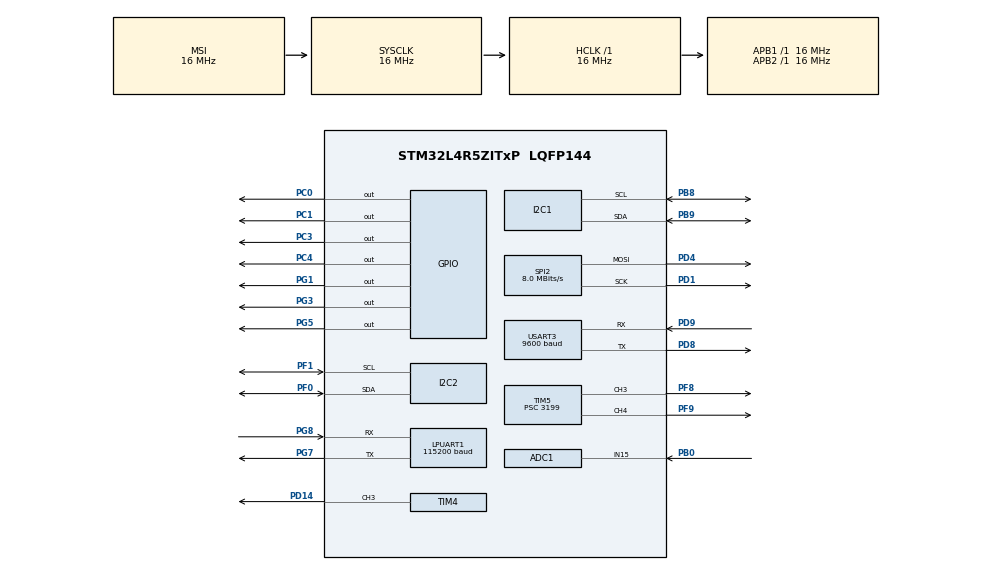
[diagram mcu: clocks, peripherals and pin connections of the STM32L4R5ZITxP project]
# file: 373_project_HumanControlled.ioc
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ADC1.Channel-4\#ChannelRegularConversion=ADC_CHANNEL_15
ADC1.NbrOfConversionFlag=1
ADC1.OffsetNumber-4\#ChannelRegularConversion=ADC_OFFSET_NONE
ADC1.Rank-4\#ChannelRegularConversion=1
ADC1.SamplingTime-4\#ChannelRegularConversion=ADC_SAMPLETIME_2CYCLES_5
ADC1.master=1
Dma.Request0=SPI2_TX
Dma.Request1=TIM4_CH3
Dma.SPI2_TX.0.Direction=DMA_MEMORY_TO_PERIPH
Dma.SPI2_TX.0.EventEnable=DISABLE
Dma.SPI2_TX.0.Instance=DMA1_Channel1
Dma.SPI2_TX.0.MemDataAlignment=DMA_MDATAALIGN_BYTE
Dma.SPI2_TX.0.MemInc=DMA_MINC_ENABLE
Dma.SPI2_TX.0.Mode=DMA_NORMAL
Dma.SPI2_TX.0.PeriphDataAlignment=DMA_PDATAALIGN_BYTE
Dma.SPI2_TX.0.PeriphInc=DMA_PINC_DISABLE
Dma.SPI2_TX.0.Polarity=HAL_DMAMUX_REQUEST_GEN_RISING
Dma.SPI2_TX.0.Priority=DMA_PRIORITY_LOW
Dma.SPI2_TX.0.RequestNumber=1
Dma.SPI2_TX.0.SignalID=NONE
Dma.SPI2_TX.0.SyncEnable=DISABLE
Dma.SPI2_TX.0.SyncPolarity=HAL_DMAMUX_SYNC_NO_EVENT
Dma.SPI2_TX.0.SyncRequestNumber=1
Dma.SPI2_TX.0.SyncSignalID=NONE
Dma.TIM4_CH3.1.Direction=DMA_MEMORY_TO_PERIPH
Dma.TIM4_CH3.1.EventEnable=DISABLE
Dma.TIM4_CH3.1.Instance=DMA1_Channel3
Dma.TIM4_CH3.1.MemDataAlignment=DMA_MDATAALIGN_WORD
Dma.TIM4_CH3.1.MemInc=DMA_MINC_ENABLE
Dma.TIM4_CH3.1.Mode=DMA_NORMAL
Dma.TIM4_CH3.1.PeriphDataAlignment=DMA_PDATAALIGN_WORD
Dma.TIM4_CH3.1.PeriphInc=DMA_PINC_DISABLE
Dma.TIM4_CH3.1.Polarity=HAL_DMAMUX_REQUEST_GEN_RISING
Dma.TIM4_CH3.1.Priority=DMA_PRIORITY_HIGH
Dma.TIM4_CH3.1.RequestNumber=1
Dma.TIM4_CH3.1.SignalID=NONE
Dma.TIM4_CH3.1.SyncEnable=DISABLE
Dma.TIM4_CH3.1.SyncPolarity=HAL_DMAMUX_SYNC_NO_EVENT
Dma.TIM4_CH3.1.SyncRequestNumber=1
Dma.TIM4_CH3.1.SyncSignalID=NONE
I2C1.Timing=0x00503D58
I2C2.Timing=0x00503D58
LPUART1.BaudRate=115200
LPUART1.WordLength=UART_WORDLENGTH_8B
Mcu.Family=STM32L4
Mcu.Name=STM32L4R5ZITxP
Mcu.Package=LQFP144
NVIC.DMA1_Channel1_IRQn=true\:0\:0\:false\:false\:true\:false\:true\:true
NVIC.DMA1_Channel3_IRQn=true\:0\:0\:false\:false\:true\:false\:true\:true
NVIC.PriorityGroup=NVIC_PRIORITYGROUP_4
NVIC.USART3_IRQn=true\:0\:0\:false\:false\:true\:true\:true\:true
PB0.Signal=ADCx_IN15
PB8.Mode=I2C
PB8.Signal=I2C1_SCL
PB9.Mode=I2C
PB9.Signal=I2C1_SDA
PC0.Signal=GPIO_Output
PC1.Signal=GPIO_Output
PC3.Signal=GPIO_Output
PC4.Signal=GPIO_Output
PD1.Mode=TX_Only_Simplex_Unidirect_Master
PD1.Signal=SPI2_SCK
PD14.Signal=S_TIM4_CH3
PD4.Mode=TX_Only_Simplex_Unidirect_Master
PD4.Signal=SPI2_MOSI
PD8.Mode=Asynchronous
PD8.Signal=USART3_TX
PD9.Mode=Asynchronous
PD9.Signal=USART3_RX
PF0.Mode=I2C
PF0.Signal=I2C2_SDA
PF1.Mode=I2C
PF1.Signal=I2C2_SCL
PF8.Signal=S_TIM5_CH3
PF9.Signal=S_TIM5_CH4
PG1.Signal=GPIO_Output
PG3.Signal=GPIO_Output
PG5.Signal=GPIO_Output
PG7.Mode=Asynchronous
PG7.Signal=LPUART1_TX
PG8.Mode=Asynchronous
PG8.Signal=LPUART1_RX
ProjectManager.HeapSize=0x200
ProjectManager.StackSize=0x400
ProjectManager.TargetToolchain=STM32CubeIDE
RCC.ADCFreq_Value=64000000
RCC.AHBFreq_Value=16000000
RCC.APB1Freq_Value=16000000
RCC.APB1TimFreq_Value=16000000
RCC.APB2Freq_Value=16000000
RCC.APB2TimFreq_Value=16000000
RCC.CortexFreq_Value=16000000
RCC.HCLKFreq_Value=16000000
RCC.HSE_VALUE=8000000
RCC.HSI48_VALUE=48000000
RCC.HSI_VALUE=16000000
RCC.LSE_VALUE=32768
RCC.MSIClockRange=RCC_MSIRANGE_8
RCC.MSI_VALUE=16000000
RCC.SYSCLKFreq_VALUE=16000000
RCC.USBFreq_Value=64000000
RCC.VCOOutputFreq_Value=128000000
SH.ADCx_IN15.0=ADC1_IN15,IN15-Single-Ended
SH.S_TIM4_CH3.0=TIM4_CH3,PWM Generation3 CH3
SH.S_TIM5_CH3.0=TIM5_CH3,PWM Generation3 CH3
SH.S_TIM5_CH4.0=TIM5_CH4,PWM Generation4 CH4
SPI2.CalculateBaudRate=8.0 MBits/s
SPI2.DataSize=SPI_DATASIZE_8BIT
SPI2.Direction=SPI_DIRECTION_2LINES
SPI2.Mode=SPI_MODE_MASTER
SPI2.VirtualType=VM_MASTER
TIM4.AutoReloadPreload=TIM_AUTORELOAD_PRELOAD_ENABLE
TIM4.Channel-PWM\ Generation3\ CH3=TIM_CHANNEL_3
TIM4.Period=19
TIM5.Channel-PWM\ Generation3\ CH3=TIM_CHANNEL_3
TIM5.Channel-PWM\ Generation4\ CH4=TIM_CHANNEL_4
TIM5.Period=99
TIM5.Prescaler=3199
USART3.BaudRate=9600
USART3.VirtualMode-Asynchronous=VM_ASYNC
VP_TIM5_VS_ClockSourceINT.Mode=Internal
board=NUCLEO-L4R5ZI-P

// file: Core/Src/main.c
/* USER CODE BEGIN Header */
/**
  ******************************************************************************
  * @file           : main.c
  * @brief          : Main program body
  ******************************************************************************
  * @attention
  *
  * Copyright (c) 2026 STMicroelectronics.
  * All rights reserved.
  *
  * This software is licensed under terms that can be found in the LICENSE file
  * in the root directory of this software component.
  * If no LICENSE file comes with this software, it is provided AS-IS.
  *
  ******************************************************************************
  */
/* USER CODE END Header */
#include "main.h"

/* USER CODE BEGIN Includes */
#include "BNO055_STM32.h"
#include "st7789.h"
#include "ws2812.h"
#include "fonts.h"
#include <stdio.h>
#include "vroom.h"
#include <PN532.h>
#include "misc.h"
#include "nfc_ids.h"
#include <string.h>

/* USER CODE END Includes */

/* USER CODE BEGIN PD */
#define led_ARR 19
#define led_T1H 13
#define led_T0H 6
/* USER CODE END PD */

ADC_HandleTypeDef hadc1;

I2C_HandleTypeDef hi2c1;
I2C_HandleTypeDef hi2c2;

UART_HandleTypeDef hlpuart1;
UART_HandleTypeDef huart3;

SPI_HandleTypeDef hspi2;
DMA_HandleTypeDef hdma_spi2_tx;

TIM_HandleTypeDef htim4;
TIM_HandleTypeDef htim5;
DMA_HandleTypeDef hdma_tim4_ch3;

void SystemClock_Config(void);
static void MX_GPIO_Init(void);
static void MX_DMA_Init(void);
static void MX_TIM5_Init(void);
static void MX_I2C1_Init(void);
static void MX_LPUART1_UART_Init(void);
static void MX_ADC1_Init(void);
static void MX_SPI2_Init(void);
static void MX_I2C2_Init(void);
static void MX_TIM4_Init(void);
static void MX_USART3_UART_Init(void);
/* USER CODE BEGIN PFP */
void USART3_SendString_IT(const char *str);
/* USER CODE END PFP */

/* USER CODE BEGIN 0 */
#define RX_BUFFER_SIZE 32          // <-- ADD THIS LINE
uint8_t rx_byte;
uint8_t rx_index = 0;
char rx_buffer[RX_BUFFER_SIZE];    // <-- UPDATE THIS LINE
volatile uint8_t data_ready = 0;
/* USER CODE END 0 */

int main(void)
{

  /* MCU Configuration--------------------------------------------------------*/

  /* Reset of all peripherals, Initializes the Flash interface and the Systick. */
  HAL_Init();

  /* Configure the system clock */
  SystemClock_Config();

  /* Initialize all configured peripherals */
  MX_GPIO_Init();
  MX_DMA_Init();
  MX_TIM5_Init();
  MX_I2C1_Init();
  MX_LPUART1_UART_Init();
  MX_ADC1_Init();
  MX_SPI2_Init();
  MX_I2C2_Init();
  MX_TIM4_Init();
  MX_USART3_UART_Init();
  /* USER CODE BEGIN 2 */
  HAL_TIM_PWM_Start(&htim5, TIM_CHANNEL_3);
  HAL_TIM_PWM_Start(&htim5, TIM_CHANNEL_4);
  HAL_ADC_Start(&hadc1);

  BNO055_Init_t bno_init = {
      .Unit_Sel    = UNIT_ORI_WINDOWS | UNIT_EUL_DEG | UNIT_GYRO_DPS | UNIT_ACC_MS2 | UNIT_TEMP_CELCIUS,
      .Axis        = DEFAULT_AXIS_REMAP,
      .Axis_sign   = DEFAULT_AXIS_SIGN,
      .Mode        = BNO055_NORMAL_MODE,
      .OP_Modes    = IMU,
      .Clock_Source = CLOCK_INTERNAL,
      .ACC_Range   = Range_4G
  };
  BNO055_Init(bno_init);
  ST7789_Init(); //if module disconnected, it wont get to the while.
  ws2812_init(&htim4);

//  ws2812_set_pixel(0,255,255,255);

//  ws2812_set_pixel(0, 200, 0,   0);   // red
//  ws2812_set_pixel(1, 0,   200, 0);   // green
//  ws2812_set_pixel(2, 0,   0,   255); // blue
//
//  ws2812_show();

  //NFC Starts
  HAL_Delay(1000);
  PN532_Init(&hi2c2);
  HAL_Delay(1000);

  HAL_UART_Receive_IT(&huart3, &rx_byte, 1);

  /* USER CODE END 2 */

  /* Infinite loop */
  /* USER CODE BEGIN WHILE */
//  BNO055_Sensors_t sensors_old = {0};
//  BNO055_Sensors_t sensors = {0};
//  int null_thresh= 0.

  int speed = 0;
  int w = 0;
  float amplifier = 0.95;

  // Trackers
  uint8_t num_laps = 0;
  // 1 = Green (Pre-Finish Line)
  // 2 = Yellow (Finish Line)
  // 3 = Blue (Power-Up)
  // 0 = Other
  uint8_t type_tag = 0;
  // 0 = Wait
  // 1 = Pre-Finish Line
  // 2 = Finish Line
  uint8_t lap_latch = 0;
  // 1 = Start
  // 0 = Stop
  uint8_t start_timer = 1;
  uint8_t power_up = 0;
	// Initialize UID
	uint8_t uid[7] = {0};
	uint8_t uidLen = 0;
	// Power-Up Timer Stuff
	uint8_t boost_on = 0;
	int boost_max_time = 10000;
	int boost_start_time = 0;
	int boost_current_time = 0;
	// Lap Time Stuff
	int lap_start_time = 0;
	int lap_end_time = 0;
	// Power-Up Stuff
	extern const uint8_t green [][7]; // (PFL; 1)
	extern const uint8_t yellow [][7]; // (FL; 2)
	extern const uint8_t purple [][7]; // (Power Up; 3)
	// Lap Time
	int reset_color = 0;
	int reset_start_time = 0;

	// Set LED to White
	for(int i = 0; i < 15; i++){
		ws2812_set_pixel(i,255,255,255);
	}
	ws2812_show();

  while (1)
  {
    /* USER CODE END WHILE */

    /* USER CODE BEGIN 3 */

	  // TODO: FIX NFC AND STRIP NOW WORK

	 // Read Target
		if(PN532_ReadPassiveTargetID(uid, &uidLen) == HAL_OK) {
		  // Good Read -- TAG FOUND
			//HAL_Delay(50);

			// TODO: Figure Out What Tag Was Read
			type_tag = identify_tag_color(uid,green,36,yellow,36,purple,36);

			// Green (Pre-Finish Line)
			if(type_tag == 1){
			  if(lap_latch == 0){
				  lap_latch = 1;
				  printf("Practice PFL\n\r");

				  	 // Set LED to Red
				  	for(int i = 0; i < 15; i++){
				  		ws2812_set_pixel(i,255,0,0);
				  	}
				  	ws2812_show();
				  	reset_color = 1;
				  	reset_start_time = HAL_GetTick();
			  }
			}
			// Yellow (Finish Line)
			else if(type_tag == 2){
			  if(lap_latch == 1){
				  lap_latch = 2;
				  printf("Practice FL\n\r");

				  // Set LED to Green
				  	for(int i = 0; i < 15; i++){
				  		ws2812_set_pixel(i,0,255,0);
				  	}
				  	ws2812_show();
				  	reset_color = 1;
				  	reset_start_time = HAL_GetTick();
			  }
			}
			// Blue (Power-Up)
			else if(type_tag == 3){
				power_up = 1;

				// Set Yellow
				for(int i = 0; i < 15; i++){
					ws2812_set_pixel(i,255,255,0);
				}
				ws2812_show();

				//doStar();
				//HAL_Delay(50); // TESTING TODO
			}
			// Error -- Print Tag
			else{
			  HAL_Delay(10);
				printf("Unregistered Tag: UID = ");
				for(int i = 0; i < 7; i++){
				  printf("%02X",uid[i]);

				  if(i < 6){
					  printf(",");
				  }
				}
				printf("\n");
			}

			// Start/End Timer if Applicable
			if(lap_latch == 2){
			  // Start Timer
			  if(start_timer == 1){
				  // Start Lap Time
				  lap_start_time = HAL_GetTick();
				  printf("Practice Start Timer\n\r");

				  // Change Latches
				  start_timer = 0;
				  lap_latch = 0;
			  }
			  // Stop Timer
			  else{
				  // Stop Timer
				  lap_end_time = HAL_GetTick();
				  int lap_time = (lap_end_time - lap_start_time); // TODO: Likely need to adjust time

				  // Send Time to Controller
				  char lap_time_buffer[20];
				  sprintf(lap_time_buffer,"{%d}\n\r",lap_time);
				  USART3_SendString_IT(lap_time_buffer);
				  printf("Practice End Timer\n\r");
				  printf(lap_time_buffer);

				  // Change Latches
				  start_timer = 1;
				  lap_latch = 0;
			  }
			}

		} // End Good Read
		else{
		  // Bad Read

			// Reset ID
			for(int i = 0; i < 7; i++){
			  uid[i] = 0;
			}

			//HAL_Delay(50);
		} // End Bad Read

	  //motor_a_set(55); // 10 (keep fixed)
	  //motor_b_set(55); // 11
//	 sscanf(rx_buffer, "{%d,%d}", &speed, &w);
//	 printf("Success! Speed: %d, W: %d\r\n", speed, w);
	  if (data_ready) {
		  // sscanf looks for the specific pattern "{number,number}"
	      // It returns the number of variables successfully found.
	      if (sscanf(rx_buffer, "{%d,%d}", &speed, &w) == 2) {
	    	  // Successfully parsed both integers!
	          printf("Success! Speed: %d, W: %d\r\n", speed, w);

	          // You can now call drive(w, speed); here if you bring that function over
	      } else if (strcmp(rx_buffer, "{STARMAN}") == 0) {
	          //printf("STARMAN Received: %s\r\n", rx_buffer);
	          if(power_up){
	        	  boost_start_time = HAL_GetTick();
	        	  boost_current_time = HAL_GetTick();
	        	  boost_on = 1;

	        	  power_up = 0;

	        	  doStar();
	          }
	      } else {
	    	  // The data got corrupted or didn't match the format
	    	  printf("Parse error: Received: %s\r\n", rx_buffer);
	      }

	      // Reset the flag to wait for the next message
	      data_ready = 0;

	      if(boost_on){
	    	  motor_a_set(0.35 * (speed + (int)(w * 0.1)));
	    	  motor_b_set(0.35 * (speed - (int)(w * 0.1)));
	      }
	      else{
	    	  motor_a_set(0.25 * (speed + (int)(w * 0.1)));
	    	  motor_b_set(0.25 * (speed - (int)(w * 0.1)));
	      }
	      //motor_a_set(0.5 * (speed - (int)(w * 0.1)));
          //motor_b_set(0.5 * (speed + (int)(w * 0.1)));
	  }

	  if(boost_on){
		  if( (HAL_GetTick() - boost_start_time) < boost_max_time ){
			  //doStar();
			  //boost_current_time = HAL_GetTick();
		  }
		  else{
			  boost_on = 0;

			  // Set LED to White
			  for(int i = 0; i < 15; i++){
			  	ws2812_set_pixel(i,255,255,255);
			  }
			  ws2812_show();
		  }
	  }

	  if(reset_color){
		  if( (HAL_GetTick() - reset_start_time) > 2000 ){
			  if(boost_on){
				  // Set Rainbow
				  doStar();

			  }
			  else if(power_up){
				  // Set Yellow
				  for(int i = 0; i < 15; i++){
					  ws2812_set_pixel(i,255,255,0);
				  }
				  ws2812_show();
			  }
			  else{
				  // Set White
				  for(int i = 0; i < 15; i++){
				  	ws2812_set_pixel(i,255,255,255);
				  }
				  ws2812_show();
			  }
			  reset_color = 0;
		  }
	  }

//	  test_motor_set();
//	  test_drive();
//	  test_IMU();
//	  test_read_adc();
//	  test_adc_IMU();
//	  drive_controller();
//	  ST7789_Test();
	  //do_scoreboard();
//	  doStar();
//	  do_nfc_and_strip();

  }
  /* USER CODE END 3 */
}

void SystemClock_Config(void)
{
  RCC_OscInitTypeDef RCC_OscInitStruct = {0};
  RCC_ClkInitTypeDef RCC_ClkInitStruct = {0};

  /** Configure the main internal regulator output voltage
  */
  if (HAL_PWREx_ControlVoltageScaling(PWR_REGULATOR_VOLTAGE_SCALE1) != HAL_OK)
  {
    Error_Handler();
  }

  /** Initializes the RCC Oscillators according to the specified parameters
  * in the RCC_OscInitTypeDef structure.
  */
  RCC_OscInitStruct.OscillatorType = RCC_OSCILLATORTYPE_MSI;
  RCC_OscInitStruct.MSIState = RCC_MSI_ON;
  RCC_OscInitStruct.MSICalibrationValue = 0;
  RCC_OscInitStruct.MSIClockRange = RCC_MSIRANGE_8;
  RCC_OscInitStruct.PLL.PLLState = RCC_PLL_NONE;
  if (HAL_RCC_OscConfig(&RCC_OscInitStruct) != HAL_OK)
  {
    Error_Handler();
  }

  /** Initializes the CPU, AHB and APB buses clocks
  */
  RCC_ClkInitStruct.ClockType = RCC_CLOCKTYPE_HCLK|RCC_CLOCKTYPE_SYSCLK
                              |RCC_CLOCKTYPE_PCLK1|RCC_CLOCKTYPE_PCLK2;
  RCC_ClkInitStruct.SYSCLKSource = RCC_SYSCLKSOURCE_MSI;
  RCC_ClkInitStruct.AHBCLKDivider = RCC_SYSCLK_DIV1;
  RCC_ClkInitStruct.APB1CLKDivider = RCC_HCLK_DIV1;
  RCC_ClkInitStruct.APB2CLKDivider = RCC_HCLK_DIV1;

  if (HAL_RCC_ClockConfig(&RCC_ClkInitStruct, FLASH_LATENCY_0) != HAL_OK)
  {
    Error_Handler();
  }
}

static void MX_ADC1_Init(void)
{

  ADC_ChannelConfTypeDef sConfig = {0};

  /** Common config
  */
  hadc1.Instance = ADC1;
  hadc1.Init.ClockPrescaler = ADC_CLOCK_ASYNC_DIV1;
  hadc1.Init.Resolution = ADC_RESOLUTION_12B;
  hadc1.Init.DataAlign = ADC_DATAALIGN_RIGHT;
  hadc1.Init.ScanConvMode = ADC_SCAN_DISABLE;
  hadc1.Init.EOCSelection = ADC_EOC_SINGLE_CONV;
  hadc1.Init.LowPowerAutoWait = DISABLE;
  hadc1.Init.ContinuousConvMode = DISABLE;
  hadc1.Init.NbrOfConversion = 1;
  hadc1.Init.DiscontinuousConvMode = DISABLE;
  hadc1.Init.ExternalTrigConv = ADC_SOFTWARE_START;
  hadc1.Init.ExternalTrigConvEdge = ADC_EXTERNALTRIGCONVEDGE_NONE;
  hadc1.Init.DMAContinuousRequests = DISABLE;
  hadc1.Init.Overrun = ADC_OVR_DATA_PRESERVED;
  hadc1.Init.OversamplingMode = DISABLE;
  if (HAL_ADC_Init(&hadc1) != HAL_OK)
  {
    Error_Handler();
  }

  /** Configure Regular Channel
  */
  sConfig.Channel = ADC_CHANNEL_15;
  sConfig.Rank = ADC_REGULAR_RANK_1;
  sConfig.SamplingTime = ADC_SAMPLETIME_2CYCLES_5;
  sConfig.SingleDiff = ADC_SINGLE_ENDED;
  sConfig.OffsetNumber = ADC_OFFSET_NONE;
  sConfig.Offset = 0;
  if (HAL_ADC_ConfigChannel(&hadc1, &sConfig) != HAL_OK)
  {
    Error_Handler();
  }

}

static void MX_I2C1_Init(void)
{

  hi2c1.Instance = I2C1;
  hi2c1.Init.Timing = 0x00503D58;
  hi2c1.Init.OwnAddress1 = 0;
  hi2c1.Init.AddressingMode = I2C_ADDRESSINGMODE_7BIT;
  hi2c1.Init.DualAddressMode = I2C_DUALADDRESS_DISABLE;
  hi2c1.Init.OwnAddress2 = 0;
  hi2c1.Init.OwnAddress2Masks = I2C_OA2_NOMASK;
  hi2c1.Init.GeneralCallMode = I2C_GENERALCALL_DISABLE;
  hi2c1.Init.NoStretchMode = I2C_NOSTRETCH_DISABLE;
  if (HAL_I2C_Init(&hi2c1) != HAL_OK)
  {
    Error_Handler();
  }

  /** Configure Analogue filter
  */
  if (HAL_I2CEx_ConfigAnalogFilter(&hi2c1, I2C_ANALOGFILTER_ENABLE) != HAL_OK)
  {
    Error_Handler();
  }

  /** Configure Digital filter
  */
  if (HAL_I2CEx_ConfigDigitalFilter(&hi2c1, 0) != HAL_OK)
  {
    Error_Handler();
  }

}

static void MX_I2C2_Init(void)
{

  hi2c2.Instance = I2C2;
  hi2c2.Init.Timing = 0x00503D58;
  hi2c2.Init.OwnAddress1 = 0;
  hi2c2.Init.AddressingMode = I2C_ADDRESSINGMODE_7BIT;
  hi2c2.Init.DualAddressMode = I2C_DUALADDRESS_DISABLE;
  hi2c2.Init.OwnAddress2 = 0;
  hi2c2.Init.OwnAddress2Masks = I2C_OA2_NOMASK;
  hi2c2.Init.GeneralCallMode = I2C_GENERALCALL_DISABLE;
  hi2c2.Init.NoStretchMode = I2C_NOSTRETCH_DISABLE;
  if (HAL_I2C_Init(&hi2c2) != HAL_OK)
  {
    Error_Handler();
  }

  /** Configure Analogue filter
  */
  if (HAL_I2CEx_ConfigAnalogFilter(&hi2c2, I2C_ANALOGFILTER_ENABLE) != HAL_OK)
  {
    Error_Handler();
  }

  /** Configure Digital filter
  */
  if (HAL_I2CEx_ConfigDigitalFilter(&hi2c2, 0) != HAL_OK)
  {
    Error_Handler();
  }

}

static void MX_LPUART1_UART_Init(void)
{

  hlpuart1.Instance = LPUART1;
  hlpuart1.Init.BaudRate = 115200;
  hlpuart1.Init.WordLength = UART_WORDLENGTH_8B;
  hlpuart1.Init.StopBits = UART_STOPBITS_1;
  hlpuart1.Init.Parity = UART_PARITY_NONE;
  hlpuart1.Init.Mode = UART_MODE_TX_RX;
  hlpuart1.Init.HwFlowCtl = UART_HWCONTROL_NONE;
  hlpuart1.Init.OneBitSampling = UART_ONE_BIT_SAMPLE_DISABLE;
  hlpuart1.Init.ClockPrescaler = UART_PRESCALER_DIV1;
  hlpuart1.AdvancedInit.AdvFeatureInit = UART_ADVFEATURE_NO_INIT;
  hlpuart1.FifoMode = UART_FIFOMODE_DISABLE;
  if (HAL_UART_Init(&hlpuart1) != HAL_OK)
  {
    Error_Handler();
  }
  if (HAL_UARTEx_SetTxFifoThreshold(&hlpuart1, UART_TXFIFO_THRESHOLD_1_8) != HAL_OK)
  {
    Error_Handler();
  }
  if (HAL_UARTEx_SetRxFifoThreshold(&hlpuart1, UART_RXFIFO_THRESHOLD_1_8) != HAL_OK)
  {
    Error_Handler();
  }
  if (HAL_UARTEx_DisableFifoMode(&hlpuart1) != HAL_OK)
  {
    Error_Handler();
  }

}

static void MX_USART3_UART_Init(void)
{

  huart3.Instance = USART3;
  huart3.Init.BaudRate = 9600;
  huart3.Init.WordLength = UART_WORDLENGTH_8B;
  huart3.Init.StopBits = UART_STOPBITS_1;
  huart3.Init.Parity = UART_PARITY_NONE;
  huart3.Init.Mode = UART_MODE_TX_RX;
  huart3.Init.HwFlowCtl = UART_HWCONTROL_NONE;
  huart3.Init.OverSampling = UART_OVERSAMPLING_16;
  huart3.Init.OneBitSampling = UART_ONE_BIT_SAMPLE_DISABLE;
  huart3.Init.ClockPrescaler = UART_PRESCALER_DIV1;
  huart3.AdvancedInit.AdvFeatureInit = UART_ADVFEATURE_NO_INIT;
  if (HAL_UART_Init(&huart3) != HAL_OK)
  {
    Error_Handler();
  }
  if (HAL_UARTEx_SetTxFifoThreshold(&huart3, UART_TXFIFO_THRESHOLD_1_8) != HAL_OK)
  {
    Error_Handler();
  }
  if (HAL_UARTEx_SetRxFifoThreshold(&huart3, UART_RXFIFO_THRESHOLD_1_8) != HAL_OK)
  {
    Error_Handler();
  }
  if (HAL_UARTEx_DisableFifoMode(&huart3) != HAL_OK)
  {
    Error_Handler();
  }

}

static void MX_SPI2_Init(void)
{

  /* SPI2 parameter configuration*/
  hspi2.Instance = SPI2;
  hspi2.Init.Mode = SPI_MODE_MASTER;
  hspi2.Init.Direction = SPI_DIRECTION_2LINES;
  hspi2.Init.DataSize = SPI_DATASIZE_8BIT;
  hspi2.Init.CLKPolarity = SPI_POLARITY_LOW;
  hspi2.Init.CLKPhase = SPI_PHASE_1EDGE;
  hspi2.Init.NSS = SPI_NSS_SOFT;
  hspi2.Init.BaudRatePrescaler = SPI_BAUDRATEPRESCALER_2;
  hspi2.Init.FirstBit = SPI_FIRSTBIT_MSB;
  hspi2.Init.TIMode = SPI_TIMODE_DISABLE;
  hspi2.Init.CRCCalculation = SPI_CRCCALCULATION_DISABLE;
  hspi2.Init.CRCPolynomial = 7;
  hspi2.Init.CRCLength = SPI_CRC_LENGTH_DATASIZE;
  hspi2.Init.NSSPMode = SPI_NSS_PULSE_ENABLE;
  if (HAL_SPI_Init(&hspi2) != HAL_OK)
  {
    Error_Handler();
  }

}

static void MX_TIM4_Init(void)
{

  TIM_MasterConfigTypeDef sMasterConfig = {0};
  TIM_OC_InitTypeDef sConfigOC = {0};

  htim4.Instance = TIM4;
  htim4.Init.Prescaler = 0;
  htim4.Init.CounterMode = TIM_COUNTERMODE_UP;
  htim4.Init.Period = 19;
  htim4.Init.ClockDivision = TIM_CLOCKDIVISION_DIV1;
  htim4.Init.AutoReloadPreload = TIM_AUTORELOAD_PRELOAD_ENABLE;
  if (HAL_TIM_PWM_Init(&htim4) != HAL_OK)
  {
    Error_Handler();
  }
  sMasterConfig.MasterOutputTrigger = TIM_TRGO_RESET;
  sMasterConfig.MasterSlaveMode = TIM_MASTERSLAVEMODE_DISABLE;
  if (HAL_TIMEx_MasterConfigSynchronization(&htim4, &sMasterConfig) != HAL_OK)
  {
    Error_Handler();
  }
  sConfigOC.OCMode = TIM_OCMODE_PWM1;
  sConfigOC.Pulse = 0;
  sConfigOC.OCPolarity = TIM_OCPOLARITY_HIGH;
  sConfigOC.OCFastMode = TIM_OCFAST_DISABLE;
  if (HAL_TIM_PWM_ConfigChannel(&htim4, &sConfigOC, TIM_CHANNEL_3) != HAL_OK)
  {
    Error_Handler();
  }
  HAL_TIM_MspPostInit(&htim4);

}

static void MX_TIM5_Init(void)
{

  TIM_ClockConfigTypeDef sClockSourceConfig = {0};
  TIM_MasterConfigTypeDef sMasterConfig = {0};
  TIM_OC_InitTypeDef sConfigOC = {0};

  htim5.Instance = TIM5;
  htim5.Init.Prescaler = 3199;
  htim5.Init.CounterMode = TIM_COUNTERMODE_UP;
  htim5.Init.Period = 99;
  htim5.Init.ClockDivision = TIM_CLOCKDIVISION_DIV1;
  htim5.Init.AutoReloadPreload = TIM_AUTORELOAD_PRELOAD_DISABLE;
  if (HAL_TIM_Base_Init(&htim5) != HAL_OK)
  {
    Error_Handler();
  }
  sClockSourceConfig.ClockSource = TIM_CLOCKSOURCE_INTERNAL;
  if (HAL_TIM_ConfigClockSource(&htim5, &sClockSourceConfig) != HAL_OK)
  {
    Error_Handler();
  }
  if (HAL_TIM_PWM_Init(&htim5) != HAL_OK)
  {
    Error_Handler();
  }
  sMasterConfig.MasterOutputTrigger = TIM_TRGO_RESET;
  sMasterConfig.MasterSlaveMode = TIM_MASTERSLAVEMODE_DISABLE;
  if (HAL_TIMEx_MasterConfigSynchronization(&htim5, &sMasterConfig) != HAL_OK)
  {
    Error_Handler();
  }
  sConfigOC.OCMode = TIM_OCMODE_PWM1;
  sConfigOC.Pulse = 0;
  sConfigOC.OCPolarity = TIM_OCPOLARITY_HIGH;
  sConfigOC.OCFastMode = TIM_OCFAST_DISABLE;
  if (HAL_TIM_PWM_ConfigChannel(&htim5, &sConfigOC, TIM_CHANNEL_3) != HAL_OK)
  {
    Error_Handler();
  }
  if (HAL_TIM_PWM_ConfigChannel(&htim5, &sConfigOC, TIM_CHANNEL_4) != HAL_OK)
  {
    Error_Handler();
  }
  HAL_TIM_MspPostInit(&htim5);

}

static void MX_DMA_Init(void)
{

  /* DMA controller clock enable */
  __HAL_RCC_DMAMUX1_CLK_ENABLE();
  __HAL_RCC_DMA1_CLK_ENABLE();

  /* DMA interrupt init */
  /* DMA1_Channel1_IRQn interrupt configuration */
  HAL_NVIC_SetPriority(DMA1_Channel1_IRQn, 0, 0);
  HAL_NVIC_EnableIRQ(DMA1_Channel1_IRQn);
  /* DMA1_Channel3_IRQn interrupt configuration */
  HAL_NVIC_SetPriority(DMA1_Channel3_IRQn, 0, 0);
  HAL_NVIC_EnableIRQ(DMA1_Channel3_IRQn);

}

static void MX_GPIO_Init(void)
{
  GPIO_InitTypeDef GPIO_InitStruct = {0};

  /* GPIO Ports Clock Enable */
  __HAL_RCC_GPIOF_CLK_ENABLE();
  __HAL_RCC_GPIOC_CLK_ENABLE();
  __HAL_RCC_GPIOB_CLK_ENABLE();
  __HAL_RCC_GPIOG_CLK_ENABLE();
  __HAL_RCC_GPIOD_CLK_ENABLE();
  HAL_PWREx_EnableVddIO2();

  /*Configure GPIO pin Output Level */
  HAL_GPIO_WritePin(GPIOC, GPIO_PIN_0|GPIO_PIN_1|GPIO_PIN_3|GPIO_PIN_4, GPIO_PIN_RESET);

  /*Configure GPIO pin Output Level */
  HAL_GPIO_WritePin(GPIOG, GPIO_PIN_1|GPIO_PIN_3|GPIO_PIN_5, GPIO_PIN_RESET);

  /*Configure GPIO pins : PC0 PC1 PC3 PC4 */
  GPIO_InitStruct.Pin = GPIO_PIN_0|GPIO_PIN_1|GPIO_PIN_3|GPIO_PIN_4;
  GPIO_InitStruct.Mode = GPIO_MODE_OUTPUT_PP;
  GPIO_InitStruct.Pull = GPIO_NOPULL;
  GPIO_InitStruct.Speed = GPIO_SPEED_FREQ_LOW;
  HAL_GPIO_Init(GPIOC, &GPIO_InitStruct);

  /*Configure GPIO pins : PG1 PG3 PG5 */
  GPIO_InitStruct.Pin = GPIO_PIN_1|GPIO_PIN_3|GPIO_PIN_5;
  GPIO_InitStruct.Mode = GPIO_MODE_OUTPUT_PP;
  GPIO_InitStruct.Pull = GPIO_NOPULL;
  GPIO_InitStruct.Speed = GPIO_SPEED_FREQ_LOW;
  HAL_GPIO_Init(GPIOG, &GPIO_InitStruct);

}

/* USER CODE BEGIN 4 */

#ifdef __GNUC__
#define PUTCHAR_PROTOTYPE int __io_putchar(int ch)
#else
  #define PUTCHAR_PROTOTYPE int fputc(int ch, FILE *f)
#endif /* __GNUC__ */
PUTCHAR_PROTOTYPE
{
  HAL_UART_Transmit(&hlpuart1, (uint8_t *)&ch, 1, 0xFFFF);
  return ch;
}

void USART3_SendString_IT(const char *str)
{
    while (huart3.gState != HAL_UART_STATE_READY)
    {
        // wait for previous transmission to finish
    }

    // Initiate the transmission. The HAL will handle sending byte-by-byte in the background.
    HAL_UART_Transmit_IT(&huart3, (const uint8_t *)str, strlen(str));
}

// This callback fires automatically when a UART byte is received via IT
void HAL_UART_RxCpltCallback(UART_HandleTypeDef *huart)
{
    if (huart->Instance == USART3) {

        // Define what character marks the end of your message.
        if (rx_byte == '\n' || rx_byte == '}') {

            // NEW: Only finalize the message if we actually captured data!
            if (rx_index > 0) {
                if (rx_byte == '}') {
                    rx_buffer[rx_index++] = rx_byte;
                }

                rx_buffer[rx_index] = '\0';
                data_ready = 1;
                rx_index = 0;
            }

        } else if (rx_byte != '\r') {
            rx_buffer[rx_index++] = rx_byte;

            if (rx_index >= RX_BUFFER_SIZE - 1) {
                rx_index = 0;
            }
        }

        // Re-arm the interrupt
        HAL_UART_Receive_IT(&huart3, &rx_byte, 1);
    }
}

void HAL_UART_ErrorCallback(UART_HandleTypeDef *huart)
{
    if (huart->Instance == USART3) {
        HAL_UART_Receive_IT(&huart3, &rx_byte, 1);
    }
}

/* USER CODE END 4 */

void Error_Handler(void)
{
  __disable_irq();
  while (1)
  {
  }
}
